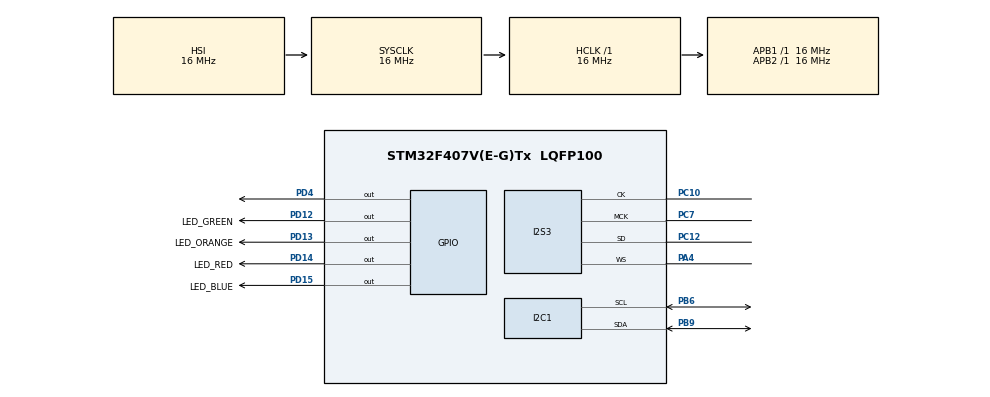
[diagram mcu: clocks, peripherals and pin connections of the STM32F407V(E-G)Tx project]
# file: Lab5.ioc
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Dma.Request0=SPI3_TX
Dma.SPI3_TX.0.Direction=DMA_MEMORY_TO_PERIPH
Dma.SPI3_TX.0.FIFOMode=DMA_FIFOMODE_ENABLE
Dma.SPI3_TX.0.FIFOThreshold=DMA_FIFO_THRESHOLD_FULL
Dma.SPI3_TX.0.Instance=DMA1_Stream5
Dma.SPI3_TX.0.MemBurst=DMA_MBURST_SINGLE
Dma.SPI3_TX.0.MemDataAlignment=DMA_MDATAALIGN_HALFWORD
Dma.SPI3_TX.0.MemInc=DMA_MINC_ENABLE
Dma.SPI3_TX.0.Mode=DMA_CIRCULAR
Dma.SPI3_TX.0.PeriphBurst=DMA_PBURST_SINGLE
Dma.SPI3_TX.0.PeriphDataAlignment=DMA_PDATAALIGN_HALFWORD
Dma.SPI3_TX.0.PeriphInc=DMA_PINC_DISABLE
Dma.SPI3_TX.0.Priority=DMA_PRIORITY_LOW
I2S3.AudioFreq=I2S_AUDIOFREQ_96K
I2S3.ErrorAudioFreq=-2.34 %
I2S3.FullDuplexMode=I2S_FULLDUPLEXMODE_DISABLE
I2S3.Instance=SPI$Index
I2S3.RealAudioFreq=93.75 KHz
I2S3.VirtualMode=I2S_MODE_MASTER
Mcu.Family=STM32F4
Mcu.Name=STM32F407V(E-G)Tx
Mcu.Package=LQFP100
NVIC.DMA1_Stream5_IRQn=true\:0\:0\:false\:false\:true\:false\:true\:true
NVIC.PriorityGroup=NVIC_PRIORITYGROUP_4
PA4.Mode=Half_Duplex_Master
PA4.Signal=I2S3_WS
PB6.Mode=I2C
PB6.Signal=I2C1_SCL
PB9.Mode=I2C
PB9.Signal=I2C1_SDA
PC10.Mode=Half_Duplex_Master
PC10.Signal=I2S3_CK
PC12.Mode=Half_Duplex_Master
PC12.Signal=I2S3_SD
PC7.Mode=Master_Clock_Activated
PC7.Signal=I2S3_MCK
PD12.GPIO_Label=LED_GREEN
PD12.Signal=GPIO_Output
PD13.GPIO_Label=LED_ORANGE
PD13.Signal=GPIO_Output
PD14.GPIO_Label=LED_RED
PD14.Signal=GPIO_Output
PD15.GPIO_Label=LED_BLUE
PD15.Signal=GPIO_Output
PD4.Signal=GPIO_Output
ProjectManager.HeapSize=0x200
ProjectManager.StackSize=0x400
ProjectManager.TargetToolchain=STM32CubeIDE
RCC.AHBFreq_Value=16000000
RCC.APB1Freq_Value=16000000
RCC.APB2Freq_Value=16000000
RCC.CortexFreq_Value=16000000
RCC.HSE_VALUE=25000000
RCC.HSI_VALUE=16000000
RCC.LSE_VALUE=32768
RCC.SYSCLKFreq_VALUE=16000000
RCC.VCOOutputFreq_Value=192000000
board=custom

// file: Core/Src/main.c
/* USER CODE BEGIN Header */
/**
  ******************************************************************************
  * @file           : main.c
  * @brief          : Main program body
  ******************************************************************************
  * @attention
  *
  * Copyright (c) 2023 STMicroelectronics.
  * All rights reserved.
  *
  * This software is licensed under terms that can be found in the LICENSE file
  * in the root directory of this software component.
  * If no LICENSE file comes with this software, it is provided AS-IS.
  *
  ******************************************************************************
  */
/* USER CODE END Header */
#include "main.h"

/* USER CODE BEGIN PTD */

typedef enum
{
	C4 = 0x00,
	C5 = 0x10,
	D5 = 0x20,
	E5 = 0x30,
	F5 = 0x40,
	G5 = 0x50,
	A5 = 0x60,
	B5 = 0x70,
	C6 = 0x80,
	D6 = 0x90,
	E6 = 0xA0,
	F6 = 0xB0,
	G6 = 0xC0,
	A6 = 0xD0,
	B6 = 0xE0,
	C7 = 0xF0

} soundToneType;

/* USER CODE END PTD */

/* USER CODE BEGIN PD */

#define CS43L22_I2C_ADDRESS		0x94
#define I2C_TIMEOUT				10

/* USER CODE END PD */

I2C_HandleTypeDef hi2c1;

I2S_HandleTypeDef hi2s3;
DMA_HandleTypeDef hdma_spi3_tx;

/* USER CODE BEGIN PV */

int16_t dataI2S[100] = {0};

/* USER CODE END PV */

void SystemClock_Config(void);
static void MX_GPIO_Init(void);
static void MX_DMA_Init(void);
static void MX_I2C1_Init(void);
static void MX_I2S3_Init(void);

/* USER CODE BEGIN 0 */

void CS43L22_Init(void)
{
	// Enable chip
	HAL_GPIO_WritePin(GPIOD, GPIO_PIN_4, GPIO_PIN_SET);

	//
	// Initialization
	//
	uint8_t TxBuffer[2];

	TxBuffer[0] = 0x0D;
	TxBuffer[1] = 0x01;
	HAL_I2C_Master_Transmit(&hi2c1, CS43L22_I2C_ADDRESS, (uint8_t*) &TxBuffer, 2, I2C_TIMEOUT);

	TxBuffer[0] = 0x00;
	TxBuffer[1] = 0x99;
	HAL_I2C_Master_Transmit(&hi2c1, CS43L22_I2C_ADDRESS, (uint8_t*) &TxBuffer, 2, I2C_TIMEOUT);

	TxBuffer[0] = 0x47;
	TxBuffer[1] = 0x80;
	HAL_I2C_Master_Transmit(&hi2c1, CS43L22_I2C_ADDRESS, (uint8_t*) &TxBuffer, 2, I2C_TIMEOUT);

	TxBuffer[0] = 0x32;
	TxBuffer[1] = 0xFF;
	HAL_I2C_Master_Transmit(&hi2c1, CS43L22_I2C_ADDRESS, (uint8_t*) &TxBuffer, 2, I2C_TIMEOUT);

	TxBuffer[0] = 0x32;
	TxBuffer[1] = 0x7F;
	HAL_I2C_Master_Transmit(&hi2c1, CS43L22_I2C_ADDRESS, (uint8_t*) &TxBuffer, 2, I2C_TIMEOUT);

	TxBuffer[0] = 0x00;
	TxBuffer[1] = 0x00;
	HAL_I2C_Master_Transmit(&hi2c1, CS43L22_I2C_ADDRESS, (uint8_t*) &TxBuffer, 2, I2C_TIMEOUT);

	TxBuffer[0] = 0x04;
	TxBuffer[1] = 0xAF;
	HAL_I2C_Master_Transmit(&hi2c1, CS43L22_I2C_ADDRESS, (uint8_t*) &TxBuffer, 2, I2C_TIMEOUT);

	TxBuffer[0] = 0x0D;
	TxBuffer[1] = 0x70;
	HAL_I2C_Master_Transmit(&hi2c1, CS43L22_I2C_ADDRESS, (uint8_t*) &TxBuffer, 2, I2C_TIMEOUT);

	TxBuffer[0] = 0x05;
	TxBuffer[1] = 0x81;
	HAL_I2C_Master_Transmit(&hi2c1, CS43L22_I2C_ADDRESS, (uint8_t*) &TxBuffer, 2, I2C_TIMEOUT);

	TxBuffer[0] = 0x06;
	TxBuffer[1] = 0x07;
	HAL_I2C_Master_Transmit(&hi2c1, CS43L22_I2C_ADDRESS, (uint8_t*) &TxBuffer, 2, I2C_TIMEOUT);

	TxBuffer[0] = 0x0A;
	TxBuffer[1] = 0x00;
	HAL_I2C_Master_Transmit(&hi2c1, CS43L22_I2C_ADDRESS, (uint8_t*) &TxBuffer, 2, I2C_TIMEOUT);

	TxBuffer[0] = 0x27;
	TxBuffer[1] = 0x00;
	HAL_I2C_Master_Transmit(&hi2c1, CS43L22_I2C_ADDRESS, (uint8_t*) &TxBuffer, 2, I2C_TIMEOUT);

	TxBuffer[0] = 0x1A;
	TxBuffer[1] = 0x0A;
	HAL_I2C_Master_Transmit(&hi2c1, CS43L22_I2C_ADDRESS, (uint8_t*) &TxBuffer, 2, I2C_TIMEOUT);

	TxBuffer[0] = 0x1B;
	TxBuffer[1] = 0x0A;
	HAL_I2C_Master_Transmit(&hi2c1, CS43L22_I2C_ADDRESS, (uint8_t*) &TxBuffer, 2, I2C_TIMEOUT);

	TxBuffer[0] = 0x1F;
	TxBuffer[1] = 0x0F;
	HAL_I2C_Master_Transmit(&hi2c1, CS43L22_I2C_ADDRESS, (uint8_t*) &TxBuffer, 2, I2C_TIMEOUT);

	TxBuffer[0] = 0x02;
	TxBuffer[1] = 0x9E;
	HAL_I2C_Master_Transmit(&hi2c1, CS43L22_I2C_ADDRESS, (uint8_t*) &TxBuffer, 2, I2C_TIMEOUT);
}

void CS43L22_Beep(soundToneType pitch, uint32_t duration_ms)
{
	uint8_t TxBuffer[2];

	// Set volume and off time
	TxBuffer[0] = 0x1D;		// Register address
	TxBuffer[1] = 0x00;		// Value (volume and off time)
	HAL_I2C_Master_Transmit(&hi2c1, CS43L22_I2C_ADDRESS, (uint8_t*) &TxBuffer, 2, I2C_TIMEOUT);

	// Set sound frequency
	TxBuffer[0] = 0x1C;		// Register address

	TxBuffer[1] = pitch;		// Value (frequency and on time)

	HAL_I2C_Master_Transmit(&hi2c1, CS43L22_I2C_ADDRESS, (uint8_t*) &TxBuffer, 2, I2C_TIMEOUT);

	// Enable continuous mode (SOUND STARTED)
	TxBuffer[0] = 0x1E;		// Register address
	TxBuffer[1] = 0xC0;		// Value (beep and tone configuration)
	HAL_I2C_Master_Transmit(&hi2c1, CS43L22_I2C_ADDRESS, (uint8_t*) &TxBuffer, 2, I2C_TIMEOUT);

	// Playing...
	HAL_Delay(duration_ms);

	// Disable continuous mode (SOUND STOPED)
	TxBuffer[0] = 0x1E;		// Register address
	TxBuffer[1] = 0x00;		// Value (beep and tone configuration)
	HAL_I2C_Master_Transmit(&hi2c1, CS43L22_I2C_ADDRESS, (uint8_t*) &TxBuffer, 2, I2C_TIMEOUT);
}

/* USER CODE END 0 */

int main(void)
{

  /* MCU Configuration--------------------------------------------------------*/

  /* Reset of all peripherals, Initializes the Flash interface and the Systick. */
  HAL_Init();

  /* Configure the system clock */
  SystemClock_Config();

  /* Initialize all configured peripherals */
  MX_GPIO_Init();
  MX_DMA_Init();
  MX_I2C1_Init();
  MX_I2S3_Init();
  /* USER CODE BEGIN 2 */

  // Init DAC
  CS43L22_Init();

  // Transmit empty data
  HAL_I2S_Transmit_DMA(&hi2s3, (uint16_t *)dataI2S, 100);

  /* USER CODE END 2 */

  /* Infinite loop */
  /* USER CODE BEGIN WHILE */
  for(int i = 0; i < 3; i++)
  {
	  HAL_GPIO_WritePin(GPIOD, LED_BLUE_Pin, GPIO_PIN_SET);
	  CS43L22_Beep(A5, 1000);
	  HAL_GPIO_WritePin(GPIOD, LED_BLUE_Pin, GPIO_PIN_RESET);
	  CS43L22_Beep(E6, 2000);

	  HAL_GPIO_WritePin(GPIOD, LED_BLUE_Pin, GPIO_PIN_SET);
	  CS43L22_Beep(A5, 1000);
	  HAL_GPIO_WritePin(GPIOD, LED_BLUE_Pin, GPIO_PIN_RESET);
	  CS43L22_Beep(E6, 1500);
	  CS43L22_Beep(A5, 500);

	  HAL_GPIO_WritePin(GPIOD, LED_GREEN_Pin, GPIO_PIN_SET);
	  CS43L22_Beep(B5, 1000);
	  HAL_GPIO_WritePin(GPIOD, LED_GREEN_Pin, GPIO_PIN_RESET);
	  CS43L22_Beep(E6, 2000);

	  HAL_GPIO_WritePin(GPIOD, LED_GREEN_Pin, GPIO_PIN_SET);
	  CS43L22_Beep(B5, 1000);
	  HAL_GPIO_WritePin(GPIOD, LED_GREEN_Pin, GPIO_PIN_RESET);
	  CS43L22_Beep(E6, 1500);
	  CS43L22_Beep(B5, 500);

	  HAL_GPIO_WritePin(GPIOD, LED_ORANGE_Pin, GPIO_PIN_SET);
	  CS43L22_Beep(C6, 1000);
	  HAL_GPIO_WritePin(GPIOD, LED_ORANGE_Pin, GPIO_PIN_RESET);
	  CS43L22_Beep(E6, 2000);

	  HAL_GPIO_WritePin(GPIOD, LED_ORANGE_Pin, GPIO_PIN_SET);
	  CS43L22_Beep(C6, 1000);
	  HAL_GPIO_WritePin(GPIOD, LED_ORANGE_Pin, GPIO_PIN_RESET);
	  CS43L22_Beep(E6, 1500);
	  CS43L22_Beep(C6, 500);

	  HAL_GPIO_WritePin(GPIOD, LED_RED_Pin, GPIO_PIN_SET);
	  CS43L22_Beep(D6, 1000);
	  HAL_GPIO_WritePin(GPIOD, LED_RED_Pin, GPIO_PIN_RESET);
	  CS43L22_Beep(E6, 2000);

	  HAL_GPIO_WritePin(GPIOD, LED_RED_Pin, GPIO_PIN_SET);
	  CS43L22_Beep(D6, 1000);
	  HAL_GPIO_WritePin(GPIOD, LED_RED_Pin, GPIO_PIN_RESET);
	  CS43L22_Beep(E6, 1500);
	  CS43L22_Beep(B5, 500);
    /* USER CODE END WHILE */

  }
}

void SystemClock_Config(void)
{
  RCC_OscInitTypeDef RCC_OscInitStruct = {0};
  RCC_ClkInitTypeDef RCC_ClkInitStruct = {0};

  /** Macro to configure the PLL multiplication factor
  */
  __HAL_RCC_PLL_PLLM_CONFIG(16);

  /** Macro to configure the PLL clock source
  */
  __HAL_RCC_PLL_PLLSOURCE_CONFIG(RCC_PLLSOURCE_HSI);

  /** Configure the main internal regulator output voltage
  */
  __HAL_RCC_PWR_CLK_ENABLE();
  __HAL_PWR_VOLTAGESCALING_CONFIG(PWR_REGULATOR_VOLTAGE_SCALE1);

  /** Initializes the RCC Oscillators according to the specified parameters
  * in the RCC_OscInitTypeDef structure.
  */
  RCC_OscInitStruct.OscillatorType = RCC_OSCILLATORTYPE_HSI;
  RCC_OscInitStruct.HSIState = RCC_HSI_ON;
  RCC_OscInitStruct.HSICalibrationValue = RCC_HSICALIBRATION_DEFAULT;
  RCC_OscInitStruct.PLL.PLLState = RCC_PLL_NONE;
  RCC_OscInitStruct.PLL.PLLSource = RCC_PLLSOURCE_HSI;
  if (HAL_RCC_OscConfig(&RCC_OscInitStruct) != HAL_OK)
  {
    Error_Handler();
  }

  /** Initializes the CPU, AHB and APB buses clocks
  */
  RCC_ClkInitStruct.ClockType = RCC_CLOCKTYPE_HCLK|RCC_CLOCKTYPE_SYSCLK
                              |RCC_CLOCKTYPE_PCLK1|RCC_CLOCKTYPE_PCLK2;
  RCC_ClkInitStruct.SYSCLKSource = RCC_SYSCLKSOURCE_HSI;
  RCC_ClkInitStruct.AHBCLKDivider = RCC_SYSCLK_DIV1;
  RCC_ClkInitStruct.APB1CLKDivider = RCC_HCLK_DIV1;
  RCC_ClkInitStruct.APB2CLKDivider = RCC_HCLK_DIV1;

  if (HAL_RCC_ClockConfig(&RCC_ClkInitStruct, FLASH_LATENCY_0) != HAL_OK)
  {
    Error_Handler();
  }
}

static void MX_I2C1_Init(void)
{

  hi2c1.Instance = I2C1;
  hi2c1.Init.ClockSpeed = 100000;
  hi2c1.Init.DutyCycle = I2C_DUTYCYCLE_2;
  hi2c1.Init.OwnAddress1 = 0;
  hi2c1.Init.AddressingMode = I2C_ADDRESSINGMODE_7BIT;
  hi2c1.Init.DualAddressMode = I2C_DUALADDRESS_DISABLE;
  hi2c1.Init.OwnAddress2 = 0;
  hi2c1.Init.GeneralCallMode = I2C_GENERALCALL_DISABLE;
  hi2c1.Init.NoStretchMode = I2C_NOSTRETCH_DISABLE;
  if (HAL_I2C_Init(&hi2c1) != HAL_OK)
  {
    Error_Handler();
  }

}

static void MX_I2S3_Init(void)
{

  hi2s3.Instance = SPI3;
  hi2s3.Init.Mode = I2S_MODE_MASTER_TX;
  hi2s3.Init.Standard = I2S_STANDARD_PHILIPS;
  hi2s3.Init.DataFormat = I2S_DATAFORMAT_16B;
  hi2s3.Init.MCLKOutput = I2S_MCLKOUTPUT_ENABLE;
  hi2s3.Init.AudioFreq = I2S_AUDIOFREQ_96K;
  hi2s3.Init.CPOL = I2S_CPOL_LOW;
  hi2s3.Init.ClockSource = I2S_CLOCK_PLL;
  hi2s3.Init.FullDuplexMode = I2S_FULLDUPLEXMODE_DISABLE;
  if (HAL_I2S_Init(&hi2s3) != HAL_OK)
  {
    Error_Handler();
  }

}

static void MX_DMA_Init(void)
{

  /* DMA controller clock enable */
  __HAL_RCC_DMA1_CLK_ENABLE();

  /* DMA interrupt init */
  /* DMA1_Stream5_IRQn interrupt configuration */
  HAL_NVIC_SetPriority(DMA1_Stream5_IRQn, 0, 0);
  HAL_NVIC_EnableIRQ(DMA1_Stream5_IRQn);

}

static void MX_GPIO_Init(void)
{
  GPIO_InitTypeDef GPIO_InitStruct = {0};

  /* GPIO Ports Clock Enable */
  __HAL_RCC_GPIOA_CLK_ENABLE();
  __HAL_RCC_GPIOD_CLK_ENABLE();
  __HAL_RCC_GPIOC_CLK_ENABLE();
  __HAL_RCC_GPIOB_CLK_ENABLE();

  /*Configure GPIO pin Output Level */
  HAL_GPIO_WritePin(GPIOD, LED_GREEN_Pin|LED_ORANGE_Pin|LED_RED_Pin|LED_BLUE_Pin
                          |GPIO_PIN_4, GPIO_PIN_RESET);

  /*Configure GPIO pins : LED_GREEN_Pin LED_ORANGE_Pin LED_RED_Pin LED_BLUE_Pin
                           PD4 */
  GPIO_InitStruct.Pin = LED_GREEN_Pin|LED_ORANGE_Pin|LED_RED_Pin|LED_BLUE_Pin
                          |GPIO_PIN_4;
  GPIO_InitStruct.Mode = GPIO_MODE_OUTPUT_PP;
  GPIO_InitStruct.Pull = GPIO_NOPULL;
  GPIO_InitStruct.Speed = GPIO_SPEED_FREQ_LOW;
  HAL_GPIO_Init(GPIOD, &GPIO_InitStruct);

}

void Error_Handler(void)
{
  __disable_irq();
  while (1)
  {
  }
}
